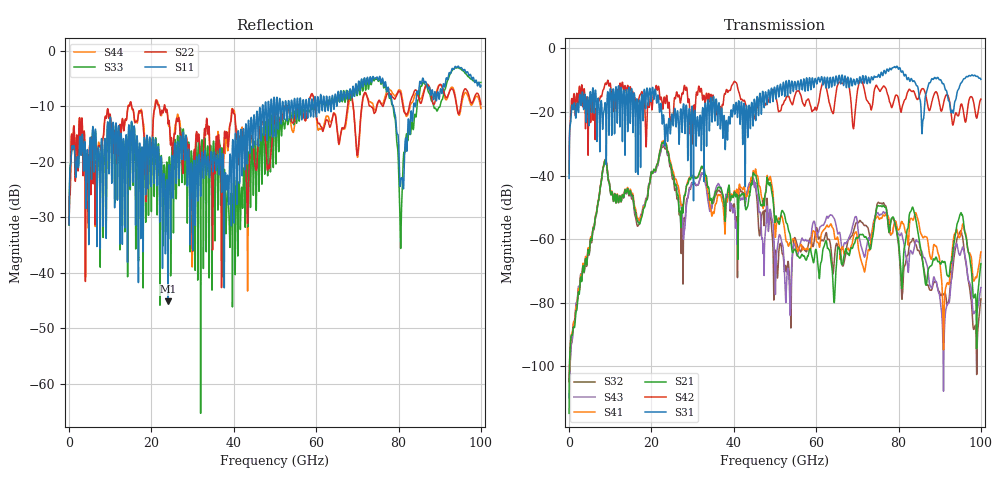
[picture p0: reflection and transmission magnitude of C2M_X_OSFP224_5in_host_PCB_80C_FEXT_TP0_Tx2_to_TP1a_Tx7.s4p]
# GHz S RI R 45
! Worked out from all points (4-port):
!   4000 points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, 25 MHz to 100 GHz, reference 45 ohm
!   strongest paths, dB at 25 MHz, 25.02 GHz, 50.02 GHz, 75.03 GHz, 100 GHz:
!     S31: -40.9, -20.7, -12.9, -8.5, -9.7
!     S42: -39.3, -21.6, -13.7, -12.5, -15.9
!     S21: -114.9, -39.3, -54.8, -49.5, -67.7
!     S41: -103.9, -37.9, -58.0, -53.0, -64.0
!     S43: -110.0, -39.3, -71.5, -51.7, -75.3
!     S32: -105.0, -40.6, -64.6, -48.5, -78.8
!   lowest |S11| = -45.1 dB at 24 GHz (marker M1), VSWR 1.01, Z = 45 - j0.499 ohm
!   |S11| at or under -10 dB: start of sweep to 46.96 GHz; 47.09 GHz to 47.61 GHz (513.2 MHz wide, 1.08 % of centre); 78.74 GHz to 83.65 GHz (4.91 GHz wide, 6.05 % of centre) (the widest 3 of 29)
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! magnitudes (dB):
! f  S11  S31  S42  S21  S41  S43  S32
! 25 MHz  -31.4  -40.9  -39.3  -114.9  -103.9  -110.0  -105.0
! 8.65 GHz  -16.1  -18.1  -11.6  -35.4  -35.3  -35.3  -35.5
! 24 GHz  -45.1  -27.8  -18.6  -32.7  -32.3  -33.3  -33.6
! 53.45 GHz  -9.5  -10.1  -15.3  -57.8  -61.8  -73.4  -70.7
! 75.4 GHz  -4.6  -9.0  -13.4  -49.6  -53.8  -52.6  -48.7
! 80.55 GHz  -23.4  -7.0  -19.9  -69.1  -55.3  -58.5  -71.3
! 100 GHz  -6.3  -9.7  -15.9  -67.7  -64.0  -75.3  -78.8
